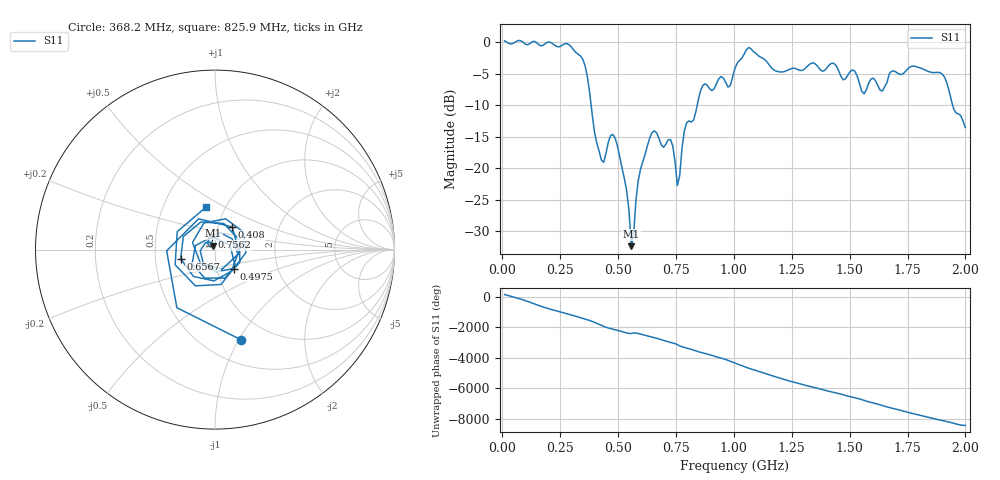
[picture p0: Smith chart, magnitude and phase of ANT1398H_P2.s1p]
!Created with skrf (http://scikit-rf.org).
# Hz S RI R 50.0
!freq ReS11 ImS11
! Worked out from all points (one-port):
!   201 points, 10 MHz to 2 GHz, reference 50 ohm
!   lowest |S11| = -32.4 dB at 557.2 MHz (marker M1), VSWR 1.05, Z = 49.1 + j2.19 ohm
!   |S11| at or under -10 dB: 383.7 MHz to 841.6 MHz (457.9 MHz wide, 74.7 % of centre); 1.945 GHz to end of sweep
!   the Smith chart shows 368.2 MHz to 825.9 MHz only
!   S11 on the Smith chart (normalised r, x): 368.2 MHz: 0.74, -1.02; 408 MHz: 1.17, +0.30; 497.6 MHz: 1.20, -0.26; 656.8 MHz: 0.68, -0.07; 756.2 MHz: 0.96, +0.14; 825.9 MHz: 0.81, +0.40
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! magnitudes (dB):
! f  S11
! 10 MHz  0.3
! 258.8 MHz  -0.4
! 338.4 MHz  -2.2
! 368.2 MHz  -5.6
! 408 MHz  -16.0
! 437.9 MHz  -19.1
! 467.7 MHz  -14.8
! 497.6 MHz  -16.5
! 507.5 MHz  -18.2
! 537.4 MHz  -23.6
! 557.2 MHz  -32.4
! 587.1 MHz  -22.0
! 656.8 MHz  -14.1
! 696.5 MHz  -16.7
! 726.4 MHz  -15.4
! 756.2 MHz  -22.7
! 786.1 MHz  -14.1
! 825.9 MHz  -12.4
! 865.7 MHz  -6.9
! 975.1 MHz  -7.1
! 1.005 GHz  -4.1
! 1.065 GHz  -0.8
! 1.254 GHz  -4.1
! 1.502 GHz  -4.6
! 1.562 GHz  -8.2
! 1.751 GHz  -4.2
! 1.901 GHz  -5.0
! 2 GHz  -13.5
